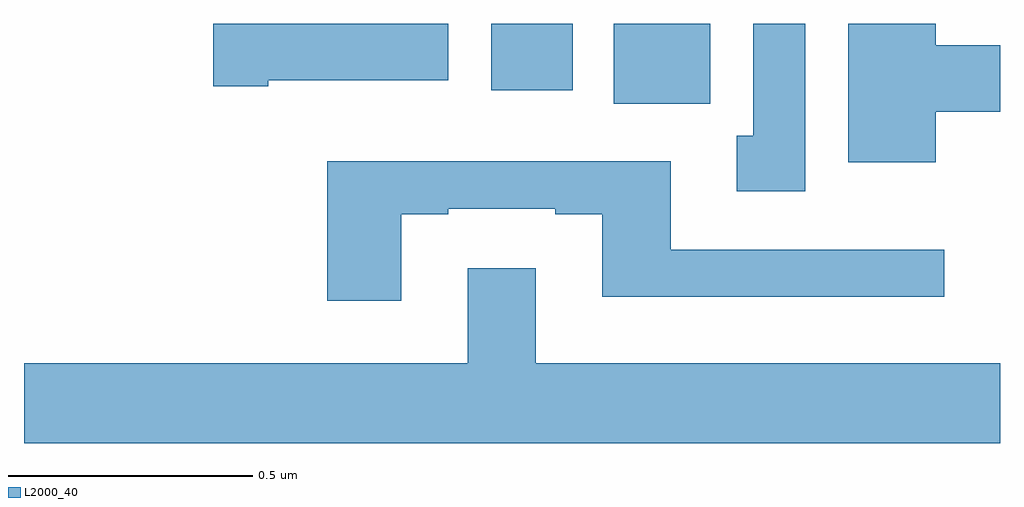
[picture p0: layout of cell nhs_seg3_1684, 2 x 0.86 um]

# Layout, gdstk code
import gdstk
lib = gdstk.Library(unit=1e-6, precision=1e-09)
def R(c, l, rs):  # rectangles x0, y0, x1, y1
    for r in rs: c.add(gdstk.rectangle(r[:2], r[2:], *l))
def P(c, l, *ps):  # polygons
    for p in ps: c.add(gdstk.Polygon(p, *l))
L2000_40 = (2000, 40)

nhs_seg3_1684 = lib.new_cell('nhs_seg3_1684')
R(nhs_seg3_1684, L2000_40, [(132.209,744.236,132.406,744.4), (131.957,744.264,132.124,744.4)])
P(nhs_seg3_1684, L2000_40, [(132.868,744.22),(133,744.22),(133,744.356),(132.868,744.356),(132.868,744.4),(132.689,744.4),(132.689,744.116),(132.868,744.116)],
  [(131.5,744.284),(131.869,744.284),(131.869,744.4),(131.388,744.4),(131.388,744.272),(131.5,744.272)],
  [(132.601,744.4),(132.494,744.4),(132.494,744.17),(132.461,744.17),(132.461,744.057),(132.601,744.057)],
  [(131.773,744.009),(131.869,744.009),(131.869,744.021),(132.089,744.021),(132.089,744.009),(132.185,744.009),(132.185,743.84),(132.886,743.84),(132.886,743.937),(132.325,743.937),(132.325,744.118),(131.621,744.118),(131.621,743.832),(131.773,743.832)],
  [(133,743.704),(132.049,743.704),(132.049,743.899),(131.909,743.899),(131.909,743.704),(131,743.704),(131,743.54),(133,743.54)])

lib.write_gds('nhs_seg3_1684.gds')
